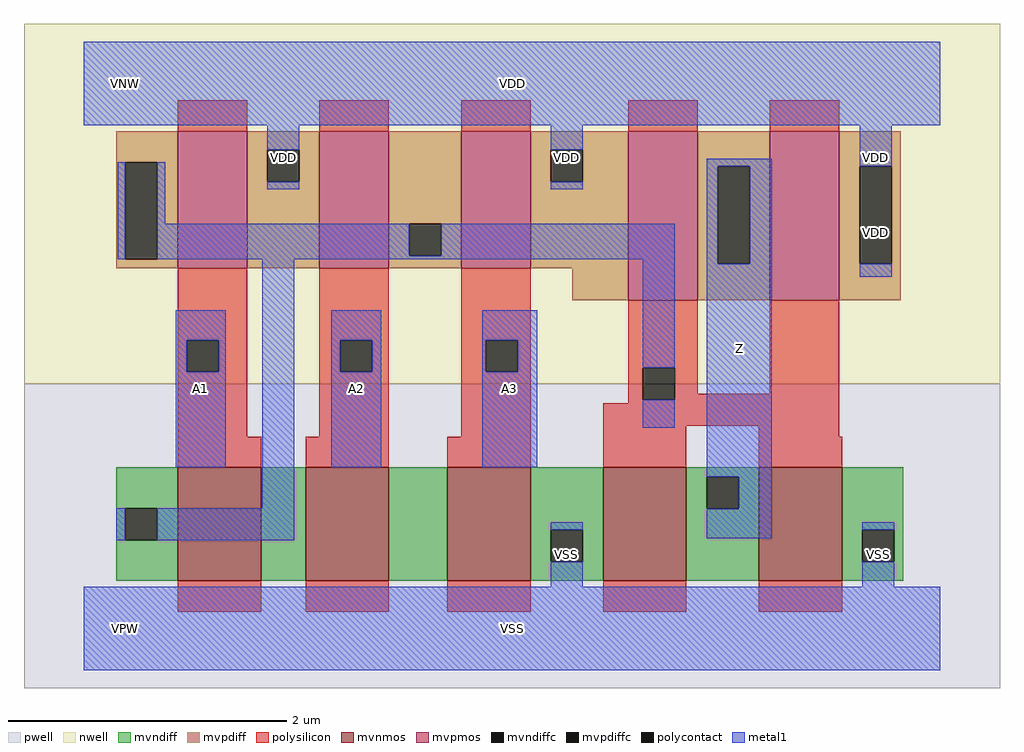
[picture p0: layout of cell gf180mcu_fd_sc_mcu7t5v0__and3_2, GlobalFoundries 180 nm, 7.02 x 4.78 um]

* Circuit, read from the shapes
.subckt gf180mcu_fd_sc_mcu7t5v0__and3_2 A1 A2 A3 Z VDD VNW VPW VSS
XM1 n1 A1 n2 VPW nfet_06v0 w=0.815u l=0.6u
XM2 n3 A2 n1 VPW nfet_06v0 w=0.815u l=0.6u
XM3 VSS A3 n3 VPW nfet_06v0 w=0.815u l=0.6u
XM4 Z n2 VSS VPW nfet_06v0 w=0.815u l=0.6u m=2
XM5 VDD A1 n2 VNW pfet_06v0 w=0.985u l=0.5u
XM6 n2 A2 VDD VNW pfet_06v0 w=0.985u l=0.5u
XM7 VDD A3 n2 VNW pfet_06v0 w=0.985u l=0.5u
XM8 Z n2 VDD VNW pfet_06v0 w=1.215u l=0.5u m=2
.ends

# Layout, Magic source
magic
tech gf180mcuD
magscale 1 10
<< nwell >>
rect -86 352 1318 870
<< pwell >>
rect -86 -86 1318 352
<< mvnmos >>
rect 135 69 255 232
rect 319 69 439 232
rect 523 69 643 232
rect 747 69 867 232
rect 971 69 1091 232
<< mvpmos >>
rect 135 518 235 715
rect 339 518 439 715
rect 543 518 643 715
rect 783 472 883 715
rect 987 472 1087 715
<< mvndiff >>
rect 47 173 135 232
rect 47 127 60 173
rect 106 127 135 173
rect 47 69 135 127
rect 255 69 319 232
rect 439 69 523 232
rect 643 142 747 232
rect 643 96 672 142
rect 718 96 747 142
rect 643 69 747 96
rect 867 218 971 232
rect 867 172 896 218
rect 942 172 971 218
rect 867 69 971 172
rect 1091 142 1179 232
rect 1091 96 1120 142
rect 1166 96 1179 142
rect 1091 69 1179 96
<< mvpdiff >>
rect 47 671 135 715
rect 47 531 60 671
rect 106 531 135 671
rect 47 518 135 531
rect 235 689 339 715
rect 235 643 264 689
rect 310 643 339 689
rect 235 518 339 643
rect 439 582 543 715
rect 439 536 468 582
rect 514 536 543 582
rect 439 518 543 536
rect 643 689 783 715
rect 643 643 672 689
rect 718 643 783 689
rect 643 518 783 643
rect 703 472 783 518
rect 883 665 987 715
rect 883 525 912 665
rect 958 525 987 665
rect 883 472 987 525
rect 1087 665 1175 715
rect 1087 525 1116 665
rect 1162 525 1175 665
rect 1087 472 1175 525
<< mvndiffc >>
rect 60 127 106 173
rect 672 96 718 142
rect 896 172 942 218
rect 1120 96 1166 142
<< mvpdiffc >>
rect 60 531 106 671
rect 264 643 310 689
rect 468 536 514 582
rect 672 643 718 689
rect 912 525 958 665
rect 1116 525 1162 665
<< polysilicon >>
rect 135 715 235 760
rect 339 715 439 760
rect 543 715 643 760
rect 783 715 883 760
rect 987 715 1087 760
rect 135 415 235 518
rect 135 369 148 415
rect 194 369 235 415
rect 135 276 235 369
rect 339 415 439 518
rect 339 369 369 415
rect 415 369 439 415
rect 339 276 439 369
rect 543 415 643 518
rect 543 369 578 415
rect 624 369 643 415
rect 543 276 643 369
rect 783 375 883 472
rect 783 329 804 375
rect 850 338 883 375
rect 987 338 1087 472
rect 850 329 1087 338
rect 783 324 1087 329
rect 135 232 255 276
rect 319 232 439 276
rect 523 232 643 276
rect 747 292 1087 324
rect 747 232 867 292
rect 971 276 1087 292
rect 971 232 1091 276
rect 135 24 255 69
rect 319 24 439 69
rect 523 24 643 69
rect 747 24 867 69
rect 971 24 1091 69
<< polycontact >>
rect 148 369 194 415
rect 369 369 415 415
rect 578 369 624 415
rect 804 329 850 375
<< metal1 >>
rect 0 724 1232 844
rect 264 689 310 724
rect 49 531 60 671
rect 106 582 117 671
rect 264 632 310 643
rect 672 689 718 724
rect 672 632 718 643
rect 896 665 990 676
rect 106 536 468 582
rect 514 536 850 582
rect 106 531 850 536
rect 132 415 204 458
rect 132 369 148 415
rect 194 369 204 415
rect 132 232 204 369
rect 257 173 303 531
rect 356 415 428 458
rect 356 369 369 415
rect 415 369 428 415
rect 356 232 428 369
rect 573 415 652 458
rect 573 369 578 415
rect 624 369 652 415
rect 573 232 652 369
rect 804 375 850 531
rect 804 289 850 329
rect 896 525 912 665
rect 958 525 990 665
rect 47 127 60 173
rect 106 127 303 173
rect 896 218 990 525
rect 1116 665 1162 724
rect 1116 506 1162 525
rect 942 172 990 218
rect 672 142 718 153
rect 896 130 990 172
rect 1120 142 1166 153
rect 672 60 718 96
rect 1120 60 1166 96
rect 0 -60 1232 60
<< labels >>
flabel metal1 s 573 232 652 458 0 FreeSans 400 0 0 0 A3
port 3 nsew default input
flabel metal1 s 0 724 1232 844 0 FreeSans 400 0 0 0 VDD
port 5 nsew power bidirectional abutment
flabel metal1 s 1120 60 1166 153 0 FreeSans 400 0 0 0 VSS
port 8 nsew ground bidirectional abutment
flabel metal1 s 896 130 990 676 0 FreeSans 400 0 0 0 Z
port 4 nsew default output
flabel metal1 s 132 232 204 458 0 FreeSans 400 0 0 0 A1
port 1 nsew default input
flabel metal1 s 356 232 428 458 0 FreeSans 400 0 0 0 A2
port 2 nsew default input
flabel nwell s 10 734 110 834 0 FreeSans 400 0 0 0 VNW
port 6 nsew power bidirectional
flabel pwell s 10 -50 110 50 0 FreeSans 400 0 0 0 VPW
port 7 nsew ground bidirectional
rlabel metal1 s 1116 632 1162 724 1 VDD
port 5 nsew power bidirectional abutment
rlabel metal1 s 672 632 718 724 1 VDD
port 5 nsew power bidirectional abutment
rlabel metal1 s 264 632 310 724 1 VDD
port 5 nsew power bidirectional abutment
rlabel metal1 s 1116 506 1162 632 1 VDD
port 5 nsew power bidirectional abutment
rlabel metal1 s 672 60 718 153 1 VSS
port 8 nsew ground bidirectional abutment
rlabel metal1 s 0 -60 1232 60 1 VSS
port 8 nsew ground bidirectional abutment
<< properties >>
string FIXED_BBOX 0 0 1232 784
string GDS_END 1227330
string GDS_FILE $PDKPATH/libs.ref/gf180mcu_fd_sc_mcu7t5v0/gds/gf180mcu_fd_sc_mcu7t5v0.gds
string GDS_START 1223730
string LEFclass core
string LEFsite GF018hv5v_mcu_sc7
string LEFsymmetry X Y
<< end >>
